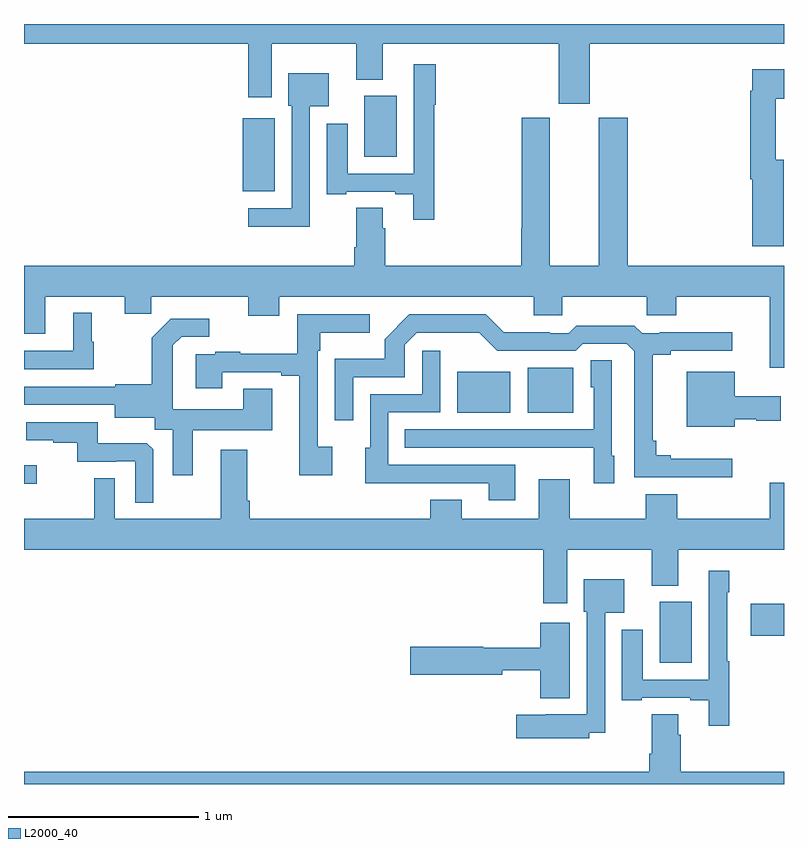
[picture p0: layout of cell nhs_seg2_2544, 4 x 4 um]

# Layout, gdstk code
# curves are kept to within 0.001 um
import gdstk
lib = gdstk.Library(unit=1e-6, precision=1e-09)
def R(c, l, rs):  # rectangles x0, y0, x1, y1
    for r in rs: c.add(gdstk.rectangle(r[:2], r[2:], *l))
def P(c, l, *ps):  # polygons
    for p in ps: c.add(gdstk.Polygon(p, *l))
L2000_40 = (2000, 40)

nhs_seg2_2544 = lib.new_cell('nhs_seg2_2544')
R(nhs_seg2_2544, L2000_40, [(248.345,584.438,248.515,584.758), (248.826,584.579,249,584.749), (245,585.38,245.068,585.478), (247.28,585.755,247.558,585.97), (247.652,585.755,247.891,585.991), (246.152,586.919,246.319,587.305), (246.791,587.102,246.961,587.422)])
P(nhs_seg2_2544, L2000_40, [(247.978,587.696),(249,587.696),(249,587.8),(245,587.8),(245,587.696),(246.179,587.696),(246.179,587.415),(246.304,587.415),(246.304,587.696),(246.749,587.696),(246.749,587.507),(246.889,587.507),(246.889,587.696),(247.814,587.696),(247.814,587.379),(247.978,587.379)],
  [(247.159,587.374),(247.166,587.374),(247.166,587.587),(247.05,587.587),(247.05,587.013),(246.703,587.013),(246.703,587.275),(246.593,587.275),(246.593,586.905),(246.697,586.905),(246.697,586.917),(246.953,586.917),(246.953,586.905),(247.049,586.905),(247.049,586.77),(247.159,586.77)],
  [(248.998,587.086),(248.956,587.086),(248.956,587.407),(249,587.407),(249,587.563),(248.834,587.563),(248.834,587.45),(248.822,587.45),(248.822,586.982),(248.834,586.982),(248.834,586.629),(248.998,586.629)],
  [(246.504,587.366),(246.604,587.366),(246.604,587.542),(246.392,587.542),(246.392,587.37),(246.408,587.37),(246.408,586.83),(246.18,586.83),(246.18,586.733),(246.504,586.733)],
  [(249,586.528),(248.177,586.528),(248.177,587.307),(248.024,587.307),(248.024,586.528),(247.768,586.528),(247.768,587.307),(247.621,587.307),(247.621,586.724),(247.616,586.724),(247.616,586.528),(246.902,586.528),(246.902,586.724),(246.889,586.724),(246.889,586.832),(246.749,586.832),(246.749,586.624),(246.737,586.624),(246.737,586.528),(245,586.528),(245,586.17),(245.113,586.17),(245.113,586.364),(245.531,586.364),(245.531,586.274),(245.669,586.274),(245.669,586.364),(246.179,586.364),(246.179,586.265),(246.343,586.265),(246.343,586.364),(247.682,586.364),(247.682,586.266),(247.833,586.266),(247.833,586.364),(248.278,586.364),(248.278,586.266),(248.433,586.266),(248.433,586.364),(248.924,586.364),(248.924,585.99),(249,585.99)],
  [(245.368,586.128),(245.356,586.128),(245.356,586.279),(245.258,586.279),(245.258,586.08),(245,586.08),(245,585.984),(245.368,585.984)],
  [(248.728,585.511),(248.404,585.511),(248.404,585.53),(248.327,585.53),(248.327,585.607),(248.309,585.607),(248.309,586.058),(248.404,586.058),(248.404,586.08),(248.728,586.08),(248.728,586.178),(248.347,586.178),(248.347,586.173),(248.253,586.173),(248.213,586.213),(247.906,586.213),(247.866,586.173),(247.766,586.173),(247.766,586.178),(247.526,586.178),(247.431,586.272),(247.028,586.272),(246.898,586.142),(246.898,586.039),(246.636,586.039),(246.636,585.714),(246.732,585.714),(246.732,585.942),(247.005,585.942),(247.005,586.113),(247.068,586.176),(247.397,586.175),(247.491,586.08),(247.905,586.08),(247.941,586.116),(248.172,586.116),(248.211,586.077),(248.211,585.414),(248.728,585.414)],
  [(246.622,585.574),(246.546,585.574),(246.546,586.079),(246.559,586.079),(246.559,586.175),(246.82,586.175),(246.82,586.272),(246.438,586.272),(246.438,586.064),(246.139,586.064),(246.139,586.075),(246.007,586.075),(246.007,586.062),(245.903,586.062),(245.903,585.882),(246.043,585.882),(246.043,585.966),(246.353,585.966),(246.353,585.948),(246.449,585.948),(246.449,585.426),(246.622,585.426)],
  [(245.887,585.662),(246.307,585.662),(246.307,585.881),(246.155,585.881),(246.155,585.772),(245.784,585.772),(245.784,586.013),(245.782,586.013),(245.782,586.108),(245.829,586.155),(245.974,586.155),(245.974,586.249),(245.773,586.249),(245.673,586.149),(245.673,585.904),(245.481,585.904),(245.481,585.891),(245,585.891),(245,585.795),(245.477,585.795),(245.477,585.728),(245.688,585.728),(245.688,585.664),(245.783,585.664),(245.783,585.426),(245.887,585.426)],
  [(247.585,585.48),(246.918,585.48),(246.918,585.756),(247.191,585.756),(247.191,586.081),(247.095,586.081),(247.095,585.852),(246.822,585.852),(246.822,585.57),(246.797,585.57),(246.797,585.383),(247.015,585.383),(247.015,585.384),(247.445,585.384),(247.445,585.294),(247.585,585.294)],
  [(248.107,585.528),(248.094,585.528),(248.094,586.031),(247.982,586.031),(247.982,585.888),(247.998,585.888),(247.998,585.666),(247.003,585.666),(247.003,585.57),(247.681,585.57),(247.681,585.569),(247.998,585.569),(247.998,585.384),(248.107,585.384)],
  [(248.74,585.719),(248.853,585.719),(248.853,585.712),(248.983,585.712),(248.983,585.841),(248.74,585.841),(248.74,585.97),(248.489,585.97),(248.489,585.68),(248.74,585.68)],
  [(245.679,585.561),(245.647,585.593),(245.389,585.593),(245.389,585.705),(245.011,585.705),(245.011,585.608),(245.155,585.608),(245.155,585.597),(245.279,585.597),(245.279,585.495),(245.486,585.495),(245.486,585.498),(245.586,585.498),(245.586,585.281),(245.679,585.281)],
  [(249,585.385),(248.924,585.385),(248.924,585.196),(248.437,585.196),(248.437,585.325),(248.273,585.325),(248.273,585.196),(247.873,585.196),(247.873,585.403),(247.709,585.403),(247.709,585.196),(247.303,585.196),(247.303,585.295),(247.139,585.295),(247.139,585.196),(246.188,585.196),(246.188,585.292),(246.175,585.292),(246.175,585.559),(246.035,585.559),(246.035,585.196),(245.478,585.196),(245.478,585.41),(245.37,585.41),(245.37,585.196),(245,585.196),(245,585.032),(247.733,585.032),(247.733,584.751),(247.858,584.751),(247.858,585.032),(248.303,585.032),(248.303,584.843),(248.443,584.843),(248.443,585.032),(249,585.032)],
  [(248.713,584.446),(248.7,584.446),(248.7,584.81),(248.713,584.81),(248.713,584.923),(248.604,584.923),(248.604,584.349),(248.257,584.349),(248.257,584.611),(248.147,584.611),(248.147,584.241),(248.251,584.241),(248.251,584.253),(248.507,584.253),(248.507,584.241),(248.603,584.241),(248.603,584.106),(248.713,584.106)],
  [(247.974,584.069),(248.058,584.069),(248.058,584.702),(248.158,584.702),(248.158,584.878),(247.946,584.878),(247.946,584.706),(247.962,584.706),(247.962,584.166),(247.746,584.166),(247.746,584.164),(247.59,584.164),(247.59,584.042),(247.974,584.042)],
  [(247.873,584.65),(247.717,584.65),(247.717,584.516),(247.416,584.516),(247.416,584.522),(247.032,584.522),(247.032,584.375),(247.516,584.375),(247.516,584.398),(247.717,584.398),(247.717,584.252),(247.873,584.252)],
  [(249,583.864),(248.456,583.864),(248.456,584.06),(248.443,584.06),(248.443,584.168),(248.303,584.168),(248.303,583.96),(248.291,583.96),(248.291,583.864),(245,583.864),(245,583.8),(249,583.8)])

lib.write_gds('nhs_seg2_2544.gds')
